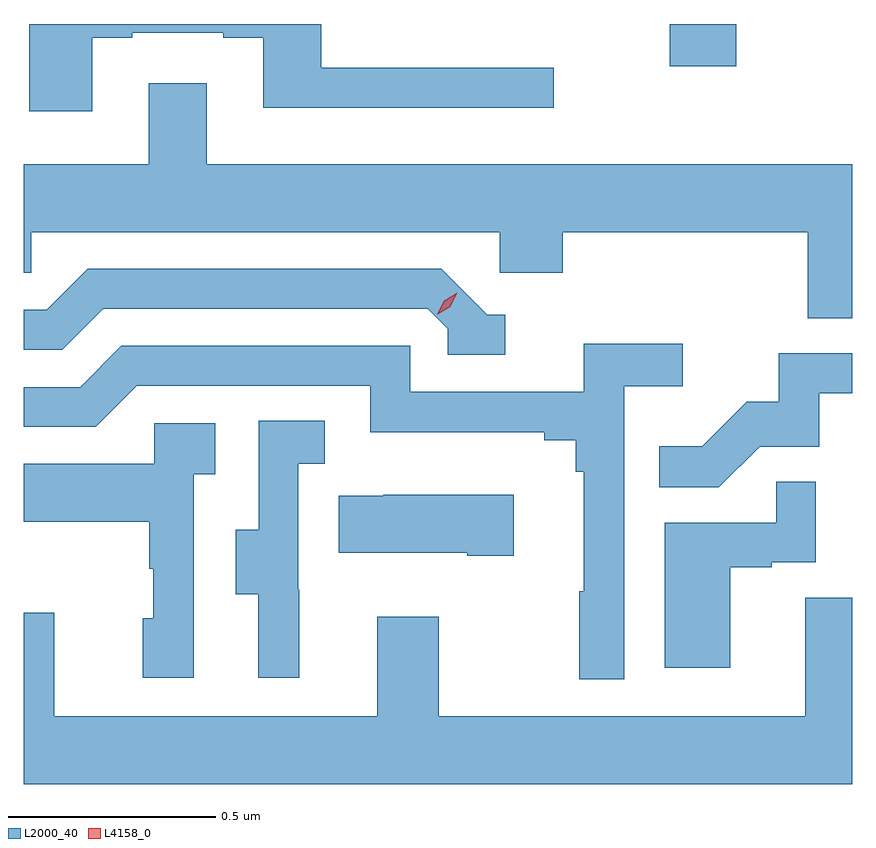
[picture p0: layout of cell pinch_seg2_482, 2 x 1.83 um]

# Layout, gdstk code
import gdstk
lib = gdstk.Library(unit=1e-6, precision=1e-09)
def R(c, l, rs):  # rectangles x0, y0, x1, y1
    for r in rs: c.add(gdstk.rectangle(r[:2], r[2:], *l))
def P(c, l, *ps):  # polygons
    for p in ps: c.add(gdstk.Polygon(p, *l))
L2000_40 = (2000, 40)
L4158_0 = (4158, 0)

pinch_seg2_482 = lib.new_cell('pinch_seg2_482')
R(pinch_seg2_482, L2000_40, [(935.252,600.084,935.413,600.186)])
P(pinch_seg2_482, L2000_40, [(933.859,600.153),(933.955,600.153),(933.955,600.165),(934.175,600.165),(934.175,600.153),(934.271,600.153),(934.271,599.984),(934.972,599.984),(934.972,600.081),(934.411,600.081),(934.411,600.186),(933.707,600.186),(933.707,599.976),(933.859,599.976)],
  [(935.693,599.848),(934.135,599.848),(934.135,600.043),(933.995,600.043),(933.995,599.848),(933.693,599.848),(933.693,599.586),(933.711,599.586),(933.711,599.684),(934.842,599.684),(934.842,599.586),(934.994,599.586),(934.994,599.684),(935.585,599.684),(935.585,599.476),(935.693,599.476)],
  [(934.855,599.484),(934.812,599.484),(934.701,599.595),(933.848,599.595),(933.749,599.496),(933.693,599.496),(933.693,599.4),(933.786,599.4),(933.885,599.499),(934.668,599.499),(934.716,599.451),(934.716,599.388),(934.855,599.388)],
  [(935.142,599.312),(935.284,599.312),(935.284,599.414),(935.045,599.414),(935.045,599.298),(934.626,599.298),(934.626,599.409),(933.929,599.409),(933.83,599.31),(933.693,599.31),(933.693,599.214),(933.867,599.214),(933.966,599.313),(934.53,599.313),(934.53,599.201),(934.949,599.201),(934.949,599.182),(935.026,599.182),(935.026,599.105),(935.045,599.105),(935.045,598.817),(935.034,598.817),(935.034,598.605),(935.142,598.605)],
  [(935.469,599.166),(935.613,599.166),(935.613,599.295),(935.693,599.295),(935.693,599.391),(935.515,599.391),(935.515,599.274),(935.438,599.274),(935.331,599.167),(935.227,599.167),(935.227,599.068),(935.371,599.068)],
  [(934.358,598.821),(934.356,598.821),(934.356,599.125),(934.42,599.125),(934.42,599.228),(934.26,599.228),(934.26,598.965),(934.205,598.965),(934.205,598.81),(934.259,598.81),(934.259,598.608),(934.358,598.608)],
  [(934.104,599.099),(934.156,599.099),(934.156,599.223),(934.008,599.223),(934.008,599.125),(933.693,599.125),(933.693,598.985),(933.996,598.985),(933.996,598.871),(934.006,598.871),(934.006,598.752),(933.98,598.752),(933.98,598.608),(934.104,598.608)],
  [(935.398,598.875),(935.498,598.875),(935.498,598.887),(935.604,598.887),(935.604,599.081),(935.509,599.081),(935.509,598.983),(935.24,598.983),(935.24,598.632),(935.398,598.632)],
  [(934.876,599.05),(934.561,599.05),(934.561,599.047),(934.453,599.047),(934.453,598.91),(934.763,598.91),(934.763,598.903),(934.876,598.903)],
  [(935.693,598.802),(935.579,598.802),(935.579,598.516),(934.695,598.516),(934.695,598.756),(934.547,598.756),(934.547,598.516),(933.767,598.516),(933.767,598.765),(933.693,598.765),(933.693,598.352),(935.693,598.352)])
P(pinch_seg2_482, L4158_0, [(934.691,599.485),(934.691,599.485),(934.708,599.518),(934.739,599.537),(934.739,599.537),(934.739,599.537),(934.722,599.504),(934.692,599.485)])

lib.write_gds('pinch_seg2_482.gds')
